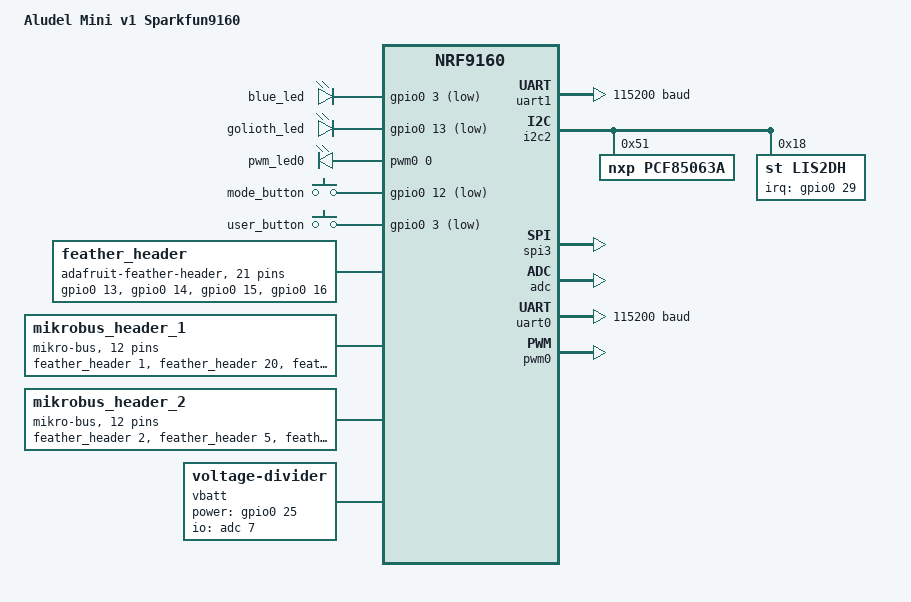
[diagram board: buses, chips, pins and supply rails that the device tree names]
/*
 * Copyright (c) 2018-2020 Nordic Semiconductor ASA
 * Copyright (c) 2020 Circuit Dojo LLC
 *
 * SPDX-License-Identifier: Apache-2.0
 */
#include "aludel_mini_nrf9160_common-pinctrl.dtsi"

/ {
	model = "Aludel Mini v1 Sparkfun9160";
	compatible = "aludel,mini-v1-sparkfun9160";

	chosen {
		zephyr,console = &uart0;
		zephyr,shell-uart = &uart0;
		zephyr,uart-mcumgr = &uart0;
	};

	leds {
		compatible = "gpio-leds";
		blue_led: led_0 {
			gpios = <&gpio0 3 GPIO_ACTIVE_LOW>;
		};
		golioth_led: golioth_led {
			gpios = <&gpio0 13 GPIO_ACTIVE_LOW>;
		};
	};

	pwmleds {
		compatible = "pwm-leds";
		pwm_led0: pwm_led_0 {
			pwms = <&pwm0 0 PWM_MSEC(20) PWM_POLARITY_INVERTED>;
		};
	};

	buttons {
		compatible = "gpio-keys";
		mode_button: mode-button {
			gpios = <&gpio0 12 (GPIO_PULL_UP | GPIO_ACTIVE_LOW)>;
		};
		user_button: user-button {
			gpios = <&gpio0 3 (GPIO_PULL_UP | GPIO_ACTIVE_LOW)>;
		};
	};

	/* These aliases are provided for compatibility with samples */
	aliases {
		led0 = &blue_led;
		bootloader-led0 = &blue_led;
		golioth-led = &golioth_led;
		pwm-led0 = &pwm_led0;
		sw0 = &mode_button;
		sw1 = &user_button;
		mcuboot-button0 = &mode_button;
		mcuboot-led0 = &blue_led;
		watchdog0 = &wdt0;
		accel0 = &lis2dh;
		mikrobus-serial = &mikrobus_serial;
		mikrobus-i2c = &mikrobus_i2c;
		mikrobus-spi = &mikrobus_spi;
		/* Deprecated click-* aliases (use mikrobus-* aliases instead) */
		click-uart = &mikrobus_serial;
		click-i2c = &mikrobus_i2c;
	};

	/* Used for accessing other pins */
	feather_header: feather_connector {
		compatible = "adafruit-feather-header";
		#gpio-cells = <2>;
		gpio-map-mask = <0xffffffff 0xffffffc0>;
		gpio-map-pass-thru = <0 0x3f>;
		gpio-map =	<0 0 &gpio0 13 0>,	/* A0 (ADC0 = AIN1) */
				<1 0 &gpio0 14 0>,	/* A1 (ADC1 = AIN2) */
				<2 0 &gpio0 15 0>,	/* A2 (ADC2 = AIN4) */
				<3 0 &gpio0 16 0>,	/* A3 (ADC3 = AIN5) */
				<4 0 &gpio0 17 0>,	/* A4 (ADC4 = AIN6) */
				<5 0 &gpio0 18 0>,	/* A5 (CS) */
				<6 0 &gpio0 19 0>,	/* SCK */
				<7 0 &gpio0 21 0>,	/* MOSI */
				<8 0 &gpio0 22 0>,	/* MISO */
				<9 0 &gpio0 23 0>,	/* RX */
				<10 0 &gpio0 24 0>,	/* TX */
				<11 0 &gpio0 31 0>,	/* D4 (NRF_PS_EN) */
				<12 0 &gpio0 26 0>,	/* SDA */
				<13 0 &gpio0 27 0>,	/* SCL */
				<14 0 &gpio0 29 0>,	/* D5 (PWM3) */
				<15 0 &gpio0 30 0>,	/* D6 (PWM3) */
				<16 0 &gpio0 0 0>,	/* D9 (PWM1) */
				<17 0 &gpio0 1 0>,	/* D10 (PWM1) */
				<18 0 &gpio0 2 0>,	/* D11 (PWM1) */
				<19 0 &gpio0 3 0>,	/* D12 (PWM0) */
				<20 0 &gpio0 4 0>;	/* D13 (PWM1) */
	};

	mikrobus_header_1: mikrobus-connector-1 {
		compatible = "mikro-bus";
		#gpio-cells = <2>;
		gpio-map-mask = <0xffffffff 0xffffffc0>;
		gpio-map-pass-thru = <0 0x3f>;
		gpio-map =	<0 0 &feather_header 1 0>,	/* AN1 */
				<1 0 &feather_header 20 0>,	/* RST1 */
				<2 0 &feather_header 15 0>,	/* CS1 */
				<3 0 &feather_header 6 0>,	/* SCK */
				<4 0 &feather_header 8 0>,	/* MISO */
				<5 0 &feather_header 7 0>,	/* MOSI */
								/* +3.3V */
								/* GND */
				<6 0 &feather_header 3 0>,	/* PWM1 */
				<7 0 &feather_header 17 0>,	/* INT1 */
				<8 0 &feather_header 9 0>,	/* RX */
				<9 0 &feather_header 10 0>,	/* TX */
				<10 0 &feather_header 13 0>,	/* SCL */
				<11 0 &feather_header 12 0>;	/* SDA */
								/* +5V */
								/* GND */
	};

	mikrobus_header_2: mikrobus-connector-2 {
		compatible = "mikro-bus";
		#gpio-cells = <2>;
		gpio-map-mask = <0xffffffff 0xffffffc0>;
		gpio-map-pass-thru = <0 0x3f>;
		gpio-map =	<0 0 &feather_header 2 0>,	/* AN2 */
				<1 0 &feather_header 5 0>,	/* RST2 */
				<2 0 &feather_header 16 0>,	/* CS2 */
				<3 0 &feather_header 6 0>,	/* SCK */
				<4 0 &feather_header 8 0>,	/* MISO */
				<5 0 &feather_header 7 0>,	/* MOSI */
								/* +3.3V */
								/* GND */
				<6 0 &feather_header 4 0>,	/* PWM2 */
				<7 0 &feather_header 18 0>,	/* INT2 */
				<8 0 &feather_header 9 0>,	/* RX */
				<9 0 &feather_header 10 0>,	/* TX */
				<10 0 &feather_header 13 0>,	/* SCL */
				<11 0 &feather_header 12 0>;	/* SDA */
								/* +5V */
								/* GND */
	};
};

feather_serial: &uart1 {};
feather_i2c: &i2c2 {};
feather_spi: &spi3 {};

mikrobus_serial: &uart1 {};
mikrobus_i2c: &i2c2 {};
mikrobus_spi: &spi3 {};
mikrobus_header: &mikrobus_header_1 {};

&adc {
	status = "okay";
};

&gpiote {
	status = "okay";
};

&gpio0 {
	status = "okay";
};

&uart0 {
	status = "okay";
	current-speed = <115200>;
	pinctrl-0 = <&uart0_default>;
	pinctrl-1 = <&uart0_sleep>;
	pinctrl-names = "default", "sleep";
};

&uart1 {
	status = "okay";
	current-speed = <115200>;
	pinctrl-0 = <&uart1_default>;
	pinctrl-1 = <&uart1_sleep>;
	pinctrl-names = "default", "sleep";
};

&i2c2 {
	status = "okay";
	pinctrl-0 = <&i2c2_default>;
	pinctrl-1 = <&i2c2_sleep>;
	pinctrl-names = "default", "sleep";
	pcf85063a@51 {
		compatible = "nxp,pcf85063a";
		reg = <0x51>;
	};

	lis2dh: lis2dh@18 {
		compatible = "st,lis2dh";
		reg = <0x18>;
		irq-gpios = <&gpio0 29 0>;
	};

};

&pwm0 {
	status = "okay";
	pinctrl-0 = <&pwm0_default>;
	pinctrl-1 = <&pwm0_sleep>;
	pinctrl-names = "default", "sleep";
};

&spi3 {
	status = "okay";
	cs-gpios = <&mikrobus_header_1 2 GPIO_ACTIVE_LOW>, /* CLICK_CS1 */
	           <&mikrobus_header_2 2 GPIO_ACTIVE_LOW>; /* CLICK_CS2 */
	pinctrl-0 = <&spi3_default>;
	pinctrl-1 = <&spi3_sleep>;
	pinctrl-names = "default", "sleep";
};

&flash0 {
	partitions {
		compatible = "fixed-partitions";
		#address-cells = <1>;
		#size-cells = <1>;

		boot_partition: partition@0 {
			label = "mcuboot";
			reg = <0x00000000 0x10000>;
		};
		slot0_partition: partition@10000 {
			label = "image-0";
		};
		slot0_ns_partition: partition@40000 {
			label = "image-0-nonsecure";
		};
		slot1_partition: partition@80000 {
			label = "image-1";
		};
		slot1_ns_partition: partition@b0000 {
			label = "image-1-nonsecure";
		};
		scratch_partition: partition@f0000 {
			label = "image-scratch";
			reg = <0x000f0000 0xa000>;
		};
		storage_partition: partition@fa000 {
			label = "storage";
			reg = <0x000fa000 0x00006000>;
		};
	};
};

/ {

	reserved-memory {
		#address-cells = <1>;
		#size-cells = <1>;
		ranges;

		sram0_s: image_s@20000000 {
			/* Secure image memory */
		};

		sram0_bsd: image_bsd@20010000 {
			/* BSD (shared) memory */
		};

		sram0_ns: image_ns@20020000 {
			/* Non-Secure image memory */
		};
	};
};

/ {
	vbatt {
		compatible = "voltage-divider";
		io-channels = <&adc 7>;
		output-ohms = <100000>;
		full-ohms = <(100000 + 100000)>;
		power-gpios = <&gpio0 25 0>;
	};
};

/* Include partition configuration file */
#include "aludel_mini_nrf9160_partition_conf.dtsi"
